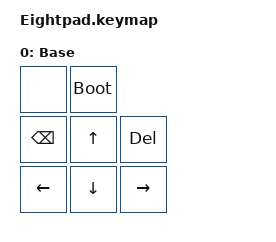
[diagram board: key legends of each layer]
#include <behaviors.dtsi>
#include <dt-bindings/zmk/keys.h>

/ {
        keymap {
        compatible = "zmk,keymap";

        default_layer { // Layer 0
            display-name = "Base";
// ----------------------------------------------
// |     Z     |     M     |     K     |
// |     A     |     B     |     C     |
            bindings = <
                &none     &bootloader
                &kp BSPC    &kp UP    &kp DEL
                &kp LEFT    &kp DOWN    &kp RIGHT
            >;
    };
};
